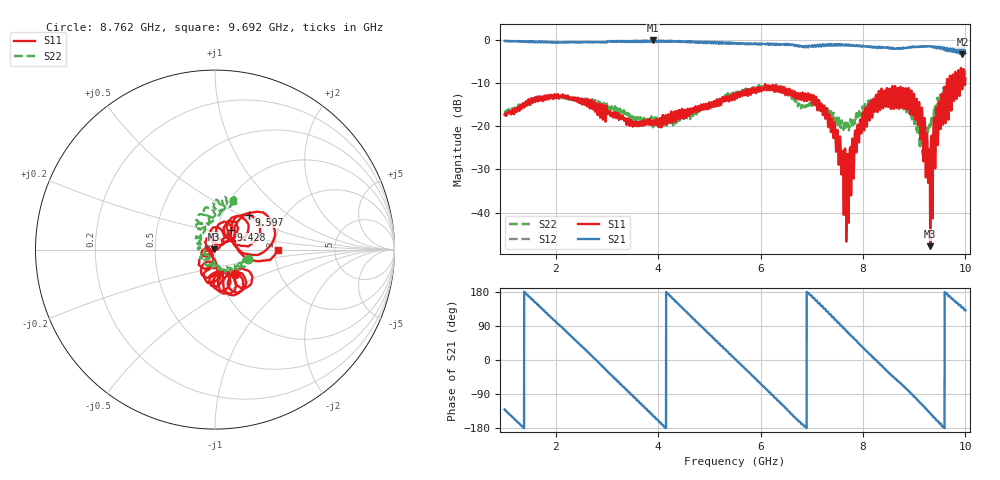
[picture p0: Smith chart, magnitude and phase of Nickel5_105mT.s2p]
#  HZ  S  RI  R  50.0
! Rohde & Schwarz ZVL13 2Ports - Version 3.31 - 1303.6509k13 SN: 101088
! Date: 2023-03-09 14:13:42
! Data & Calibration Information:
! Trc4:S11(TOSM) Trc2:S21(TOSM) Trc3:S12(TOSM) Trc5:S22(TOSM)
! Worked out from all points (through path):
!   4000 points, 1 GHz to 10 GHz, reference 50 ohm
!   highest |S21| = -0.13 dB at 3.892 GHz (marker M1); lowest = -3.3 dB at 9.941 GHz (marker M2)
!   group delay of S21, straight-line fit = 365 ps
!   lowest |S11| = -47.8 dB at 9.314 GHz (marker M3), VSWR 1.01, Z = 49.6 + j0.194 ohm
!   |S11| at or under -10 dB: start of sweep to 9.636 GHz; 9.653372 GHz to 9.68759 GHz (34.22 MHz wide, 0.354 % of centre); 9.710087 GHz to 9.740204 GHz (30.12 MHz wide, 0.31 % of centre)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
!   |S22| runs from -26.5 to -7.2 dB; largest |S21 - S12| = 0.076
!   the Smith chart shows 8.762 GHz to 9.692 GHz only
!   S11 on the Smith chart (normalised r, x): 8.762 GHz: 1.20, -0.34; 9.428 GHz: 1.16, +0.26; 9.597 GHz: 1.33, +0.56; 9.692 GHz: 2.09, -0.02
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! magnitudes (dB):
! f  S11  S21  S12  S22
! 1 GHz  -17.3  -0.2  -0.2  -16.8
! 1.695 GHz  -14.1  -0.6  -0.4  -13.7
! 2.501 GHz  -14.5  -0.5  -0.6  -13.7
! 3.892 GHz  -19.2  -0.1  -0.2  -19.3
! 4 GHz  -19.5  -0.2  -0.2  -19.4
! 5.501 GHz  -13.1  -0.8  -0.9  -12.6
! 6.334 GHz  -11.9  -1.1  -1.1  -11.1
! 7 GHz  -14.4  -1.3  -1.4  -15.1
! 7.421 GHz  -22.5  -1.2  -1.0  -17.1
! 7.695 GHz  -26.5  -1.2  -1.2  -19.3
! 7.873 GHz  -25.3  -1.3  -1.3  -17.0
! 8.022 GHz  -21.0  -1.6  -1.5  -16.1
! 8.501 GHz  -14.2  -1.9  -2.0  -13.4
! 8.762 GHz  -15.1  -2.0  -2.0  -14.3
! 9.122 GHz  -22.1  -1.6  -1.6  -22.6
! 9.199 GHz  -18.2  -1.6  -1.5  -21.0
! 9.314 GHz  -47.8  -1.5  -1.6  -19.9
! 9.428 GHz  -17.1  -1.7  -1.9  -17.1
! 9.597 GHz  -11.3  -2.0  -2.2  -13.3
! 9.692 GHz  -9.1  -2.0  -2.7  -10.7
! 9.941 GHz  -11.0  -3.3  -2.6  -7.8
! 10 GHz  -8.9  -3.1  -2.6  -7.2
